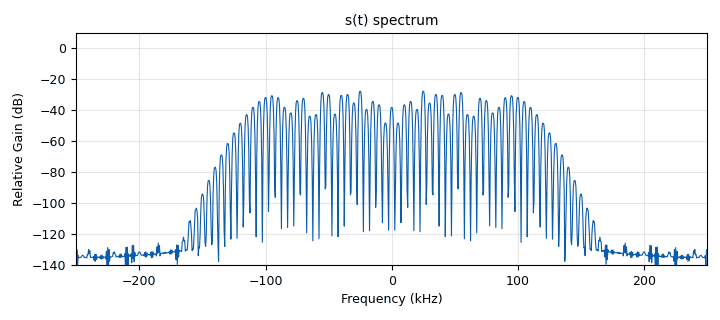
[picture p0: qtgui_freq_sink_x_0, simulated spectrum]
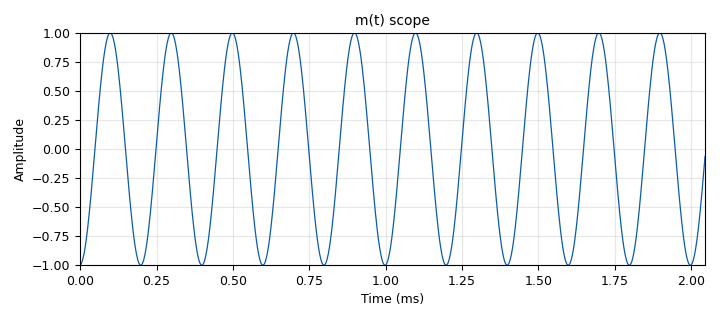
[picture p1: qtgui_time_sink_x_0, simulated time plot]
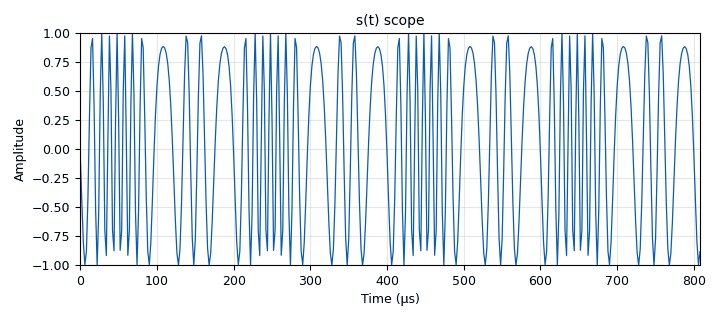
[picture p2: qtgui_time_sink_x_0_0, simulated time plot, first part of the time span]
options:
  parameters:
    author: Aqil
    generate_options: qt_gui
    id: modulasi_fm
    output_language: python
    title: modulasi fm
  states: {}

blocks:
- name: beta
  id: variable_qtgui_range
  parameters:
    start: '0'
    step: '0.250'
    stop: '10'
    value: '4'
  states: {}
- name: fc
  id: variable_qtgui_range
  parameters:
    start: '0'
    step: '10'
    stop: '100000'
    value: '25000'
  states: {}
- name: fm
  id: variable_qtgui_range
  parameters:
    start: '0'
    step: '10'
    stop: '100000'
    value: '5000'
  states: {}
- name: samp_rate
  id: variable
  parameters:
    value: '500000'
  states: {}
- name: analog_phase_modulator_fc_0
  id: analog_phase_modulator_fc
  parameters:
    sensitivity: beta
  states: {}
- name: analog_sig_source_x_0
  id: analog_sig_source_x
  parameters:
    amp: '1'
    freq: fm
    offset: '0'
    phase: '0'
    samp_rate: samp_rate
    type: float
    waveform: analog.GR_SIN_WAVE
  states: {}
- name: analog_sig_source_x_0_0
  id: analog_sig_source_x
  parameters:
    amp: '1'
    freq: fc
    offset: '0'
    phase: '0'
    samp_rate: samp_rate
    type: complex
    waveform: analog.GR_COS_WAVE
  states: {}
- name: blocks_complex_to_real_0
  id: blocks_complex_to_real
  parameters: {}
  states: {}
- name: blocks_multiply_const_vxx_0
  id: blocks_multiply_const_vxx
  parameters:
    const: '4'
    type: float
  states: {}
- name: blocks_multiply_xx_0
  id: blocks_multiply_xx
  parameters:
    type: complex
  states: {}
- name: blocks_throttle2_0
  id: blocks_throttle2
  parameters:
    samples_per_second: samp_rate
    type: float
  states: {}
- name: qtgui_freq_sink_x_0
  id: qtgui_freq_sink_x
  parameters:
    bw: samp_rate
    fc: '0'
    fftsize: '1024'
    name: s(t) spectrum
    type: float
    wintype: window.WIN_FLATTOP
  states: {}
- name: qtgui_time_sink_x_0
  id: qtgui_time_sink_x
  parameters:
    name: m(t) scope
    size: '1024'
    srate: samp_rate
    type: float
  states: {}
- name: qtgui_time_sink_x_0_0
  id: qtgui_time_sink_x
  parameters:
    name: s(t) scope
    size: '1024'
    srate: samp_rate
    type: float
  states: {}

connections:
- [analog_phase_modulator_fc_0, '0', blocks_multiply_xx_0, '1']
- [analog_sig_source_x_0, '0', blocks_multiply_const_vxx_0, '0']
- [analog_sig_source_x_0, '0', qtgui_time_sink_x_0, '0']
- [analog_sig_source_x_0_0, '0', blocks_multiply_xx_0, '0']
- [blocks_complex_to_real_0, '0', qtgui_freq_sink_x_0, '0']
- [blocks_complex_to_real_0, '0', qtgui_time_sink_x_0_0, '0']
- [blocks_multiply_const_vxx_0, '0', blocks_throttle2_0, '0']
- [blocks_multiply_xx_0, '0', blocks_complex_to_real_0, '0']
- [blocks_throttle2_0, '0', analog_phase_modulator_fc_0, '0']

metadata:
  file_format: 1
  grc_version: 3.10.12.0
